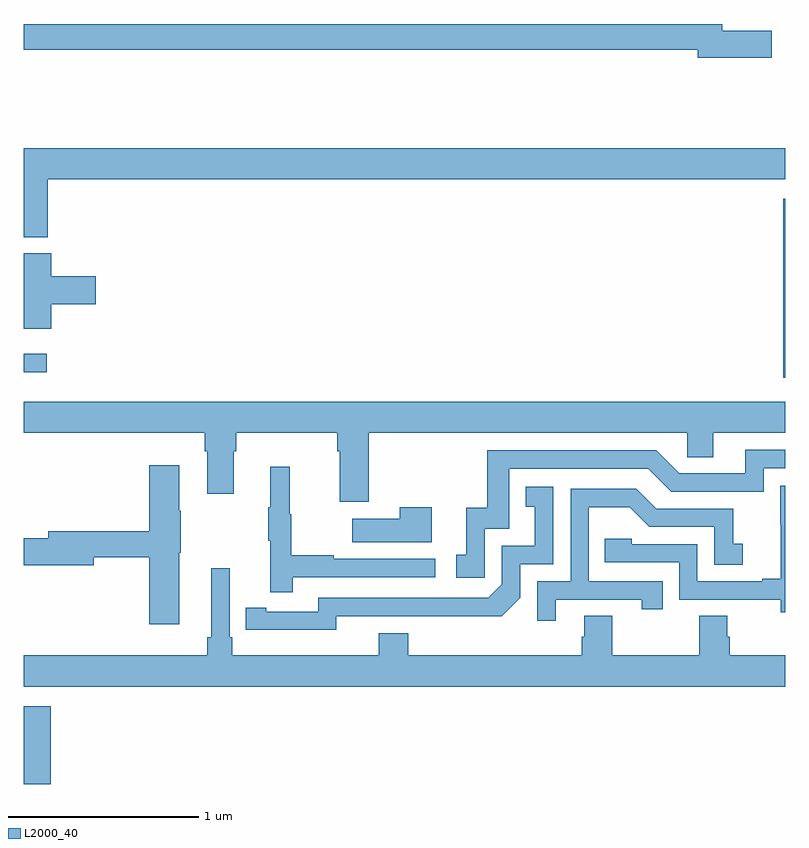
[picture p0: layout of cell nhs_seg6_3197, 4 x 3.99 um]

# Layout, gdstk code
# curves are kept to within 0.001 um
import gdstk
lib = gdstk.Library(unit=1e-6, precision=1e-09)
def R(c, l, rs):  # rectangles x0, y0, x1, y1
    for r in rs: c.add(gdstk.rectangle(r[:2], r[2:], *l))
def P(c, l, *ps):  # polygons
    for p in ps: c.add(gdstk.Polygon(p, *l))
L2000_40 = (2000, 40)

nhs_seg6_3197 = lib.new_cell('nhs_seg6_3197')
R(nhs_seg6_3197, L2000_40, [(299,937.5,299.141,937.909), (302.99,939.633,303,940.573), (299,939.662,299.122,939.76)])
P(nhs_seg6_3197, L2000_40, [(302.929,941.456),(302.668,941.456),(302.668,941.492),(299,941.492),(299,941.356),(302.54,941.356),(302.54,941.314),(302.929,941.314)],
  [(299.126,940.676),(303,940.676),(303,940.84),(299,940.84),(299,940.372),(299.126,940.372)],
  [(299.144,940.019),(299.377,940.019),(299.377,940.166),(299.144,940.166),(299.144,940.287),(299,940.287),(299,939.891),(299.144,939.891)],
  [(300.812,939.344),(302.484,939.344),(302.484,939.217),(302.623,939.217),(302.623,939.344),(303,939.344),(303,939.508),(299,939.508),(299,939.344),(299.951,939.344),(299.951,939.248),(299.963,939.248),(299.963,939.024),(300.103,939.024),(300.103,939.248),(300.116,939.248),(300.116,939.344),(300.647,939.344),(300.647,939.248),(300.659,939.248),(300.659,938.982),(300.812,938.982)],
  [(301.422,938.841),(301.551,938.841),(301.551,939.156),(302.28,939.156),(302.4,939.036),(302.886,939.036),(302.886,939.159),(303,939.159),(303,939.255),(302.789,939.255),(302.789,939.132),(302.442,939.132),(302.322,939.252),(301.435,939.252),(301.435,938.95),(301.325,938.95),(301.325,938.703),(301.272,938.703),(301.272,938.583),(301.422,938.583)],
  [(299.818,938.715),(299.826,938.715),(299.826,938.936),(299.818,938.936),(299.818,939.175),(299.66,939.175),(299.66,938.828),(299.129,938.828),(299.129,938.792),(299,938.792),(299,938.65),(299.368,938.65),(299.368,938.692),(299.66,938.692),(299.66,938.34),(299.818,938.34)],
  [(300.413,938.586),(301.162,938.586),(301.162,938.682),(300.629,938.682),(300.629,938.702),(300.406,938.702),(300.406,938.916),(300.398,938.916),(300.398,939.166),(300.296,939.166),(300.296,938.953),(300.285,938.953),(300.285,938.779),(300.296,938.779),(300.296,938.508),(300.413,938.508)],
  [(303,939.067),(302.974,939.067),(302.974,938.861),(302.975,938.861),(302.975,938.578),(302.879,938.578),(302.879,938.565),(302.538,938.565),(302.538,938.76),(302.193,938.76),(302.193,938.787),(302.053,938.787),(302.053,938.664),(302.442,938.664),(302.442,938.469),(302.976,938.469),(302.976,938.401),(303,938.401)],
  [(300.642,938.382),(301.51,938.381),(301.608,938.478),(301.608,938.655),(301.782,938.655),(301.782,939.061),(301.636,939.061),(301.636,938.955),(301.685,938.955),(301.685,938.751),(301.512,938.751),(301.512,938.55),(301.44,938.478),(300.546,938.478),(300.546,938.406),(300.274,938.406),(300.274,938.426),(300.166,938.426),(300.166,938.31),(300.642,938.309)],
  [(301.795,938.469),(302.246,938.469),(302.246,938.418),(302.357,938.418),(302.357,938.565),(301.968,938.565),(301.968,938.954),(302.182,938.954),(302.286,938.85),(302.628,938.85),(302.628,938.652),(302.776,938.652),(302.776,938.761),(302.727,938.761),(302.727,938.946),(302.323,938.946),(302.218,939.051),(301.872,939.051),(301.872,938.565),(301.698,938.565),(301.698,938.358),(301.795,938.358)],
  [(301.144,938.953),(300.974,938.953),(300.974,938.893),(300.725,938.893),(300.725,938.771),(301.144,938.771)],
  [(303,938.176),(302.708,938.176),(302.708,938.274),(302.695,938.274),(302.695,938.384),(302.548,938.384),(302.548,938.176),(302.091,938.176),(302.091,938.384),(301.943,938.384),(301.943,938.274),(301.931,938.274),(301.931,938.176),(301.019,938.176),(301.019,938.293),(300.866,938.293),(300.866,938.176),(300.095,938.176),(300.095,938.272),(300.081,938.272),(300.081,938.632),(299.984,938.632),(299.984,938.272),(299.965,938.272),(299.965,938.176),(299,938.176),(299,938.012),(303,938.012)])

lib.write_gds('nhs_seg6_3197.gds')
